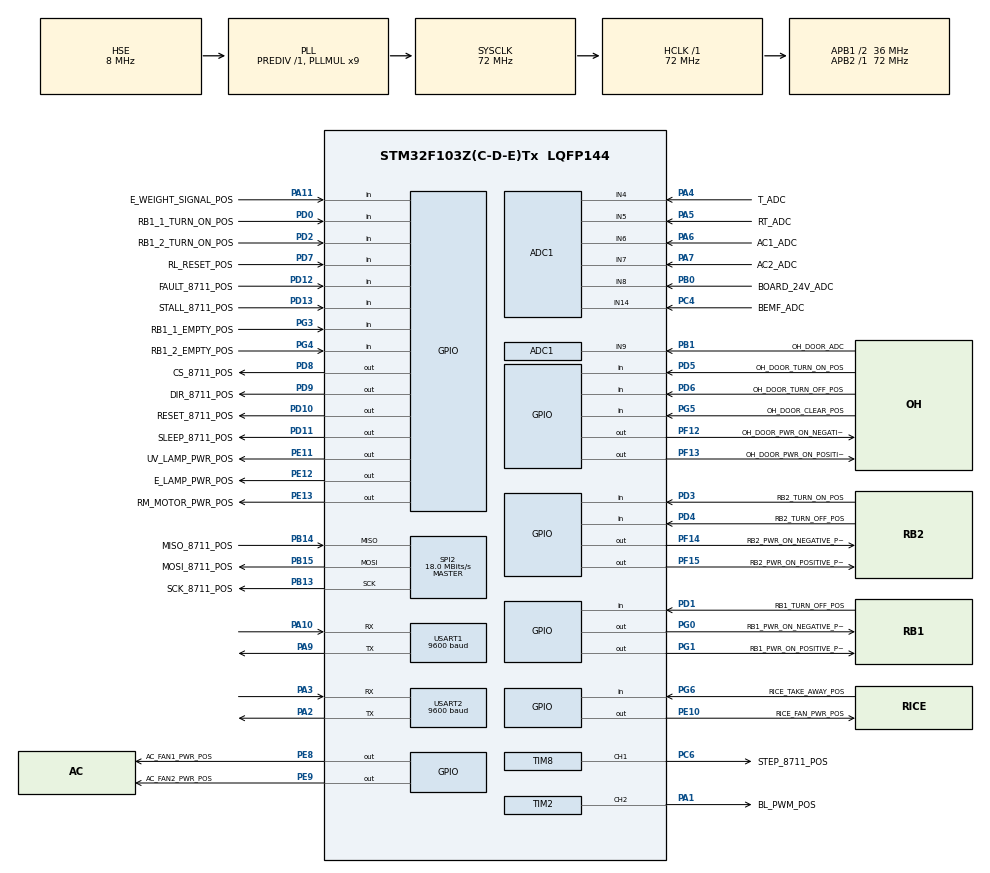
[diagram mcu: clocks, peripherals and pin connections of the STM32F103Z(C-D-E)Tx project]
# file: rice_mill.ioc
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ADC1.Channel-0\#ChannelRegularConversion=ADC_CHANNEL_4
ADC1.Channel-1\#ChannelRegularConversion=ADC_CHANNEL_5
ADC1.Channel-2\#ChannelRegularConversion=ADC_CHANNEL_6
ADC1.Channel-3\#ChannelRegularConversion=ADC_CHANNEL_7
ADC1.Channel-4\#ChannelRegularConversion=ADC_CHANNEL_8
ADC1.Channel-5\#ChannelRegularConversion=ADC_CHANNEL_9
ADC1.Channel-6\#ChannelRegularConversion=ADC_CHANNEL_14
ADC1.ContinuousConvMode=DISABLE
ADC1.DataAlign=ADC_DATAALIGN_RIGHT
ADC1.DiscontinuousConvMode=DISABLE
ADC1.EnableAnalogWatchDog=false
ADC1.EnableRegularConversion=ENABLE
ADC1.ExternalTrigConv=ADC_SOFTWARE_START
ADC1.InjNumberOfConversion=0
ADC1.NbrOfConversion=7
ADC1.NbrOfConversionFlag=1
ADC1.Rank-0\#ChannelRegularConversion=1
ADC1.Rank-1\#ChannelRegularConversion=2
ADC1.Rank-2\#ChannelRegularConversion=3
ADC1.Rank-3\#ChannelRegularConversion=4
ADC1.Rank-4\#ChannelRegularConversion=5
ADC1.Rank-5\#ChannelRegularConversion=6
ADC1.Rank-6\#ChannelRegularConversion=7
ADC1.SamplingTime-0\#ChannelRegularConversion=ADC_SAMPLETIME_55CYCLES_5
ADC1.SamplingTime-1\#ChannelRegularConversion=ADC_SAMPLETIME_55CYCLES_5
ADC1.SamplingTime-2\#ChannelRegularConversion=ADC_SAMPLETIME_55CYCLES_5
ADC1.SamplingTime-3\#ChannelRegularConversion=ADC_SAMPLETIME_55CYCLES_5
ADC1.SamplingTime-4\#ChannelRegularConversion=ADC_SAMPLETIME_55CYCLES_5
ADC1.SamplingTime-5\#ChannelRegularConversion=ADC_SAMPLETIME_55CYCLES_5
ADC1.SamplingTime-6\#ChannelRegularConversion=ADC_SAMPLETIME_55CYCLES_5
ADC1.ScanConvMode=ADC_SCAN_ENABLE
ADC1.master=1
Dma.ADC1.0.Direction=DMA_PERIPH_TO_MEMORY
Dma.ADC1.0.Instance=DMA1_Channel1
Dma.ADC1.0.MemDataAlignment=DMA_MDATAALIGN_HALFWORD
Dma.ADC1.0.MemInc=DMA_MINC_ENABLE
Dma.ADC1.0.Mode=DMA_NORMAL
Dma.ADC1.0.PeriphDataAlignment=DMA_PDATAALIGN_HALFWORD
Dma.ADC1.0.PeriphInc=DMA_PINC_DISABLE
Dma.ADC1.0.Priority=DMA_PRIORITY_LOW
Dma.Request0=ADC1
FREERTOS.INCLUDE_eTaskGetState=1
FREERTOS.INCLUDE_vTaskDelayUntil=1
FREERTOS.INCLUDE_xTaskGetCurrentTaskHandle=1
FREERTOS.Tasks01=defaultTask,0,256,StartDefaultTask,Default,NULL,Dynamic,NULL,NULL
FREERTOS.configCHECK_FOR_STACK_OVERFLOW=1
FREERTOS.configMAX_PRIORITIES=8
FREERTOS.configMAX_TASK_NAME_LEN=12
FREERTOS.configMINIMAL_STACK_SIZE=128
FREERTOS.configTIMER_TASK_PRIORITY=4
FREERTOS.configTIMER_TASK_STACK_DEPTH=128
FREERTOS.configTOTAL_HEAP_SIZE=40960
FREERTOS.configUSE_COUNTING_SEMAPHORES=1
FREERTOS.configUSE_IDLE_HOOK=1
FREERTOS.configUSE_MALLOC_FAILED_HOOK=1
FREERTOS.configUSE_RECURSIVE_MUTEXES=1
FREERTOS.configUSE_TIMERS=1
IWDG.Reload=4000
Mcu.Family=STM32F1
Mcu.Name=STM32F103Z(C-D-E)Tx
Mcu.Package=LQFP144
NVIC.DMA1_Channel1_IRQn=true\:5\:0\:false\:false\:true\:true
NVIC.PriorityGroup=NVIC_PRIORITYGROUP_4
NVIC.TIM2_IRQn=true\:5\:0\:false\:false\:true\:true
NVIC.TIM8_UP_IRQn=true\:5\:0\:false\:false\:true\:true
NVIC.USART1_IRQn=true\:5\:0\:false\:false\:true\:true
NVIC.USART2_IRQn=true\:5\:0\:false\:false\:true\:true
OSC_IN.Mode=HSE-External-Oscillator
OSC_IN.Signal=RCC_OSC_IN
OSC_OUT.Mode=HSE-External-Oscillator
OSC_OUT.Signal=RCC_OSC_OUT
PA1.GPIO_Label=BL_PWM_POS
PA1.Signal=S_TIM2_CH2
PA10.Mode=Asynchronous
PA10.Signal=USART1_RX
PA11.GPIO_Label=E_WEIGHT_SIGNAL_POS
PA11.Signal=GPIO_Input
PA13.Mode=Serial_Wire
PA13.Signal=SYS_JTMS-SWDIO
PA14.Mode=Serial_Wire
PA14.Signal=SYS_JTCK-SWCLK
PA2.Mode=Asynchronous
PA2.Signal=USART2_TX
PA3.Mode=Asynchronous
PA3.Signal=USART2_RX
PA4.GPIO_Label=T_ADC
PA4.Signal=ADCx_IN4
PA5.GPIO_Label=RT_ADC
PA5.Signal=ADCx_IN5
PA6.GPIO_Label=AC1_ADC
PA6.Signal=ADCx_IN6
PA7.GPIO_Label=AC2_ADC
PA7.Signal=ADCx_IN7
PA9.Mode=Asynchronous
PA9.Signal=USART1_TX
PB0.GPIO_Label=BOARD_24V_ADC
PB0.Signal=ADCx_IN8
PB1.GPIO_Label=OH_DOOR_ADC
PB1.Signal=ADCx_IN9
PB13.GPIO_Label=SCK_8711_POS
PB13.Mode=Full_Duplex_Master
PB13.Signal=SPI2_SCK
PB14.GPIO_Label=MISO_8711_POS
PB14.Mode=Full_Duplex_Master
PB14.Signal=SPI2_MISO
PB15.GPIO_Label=MOSI_8711_POS
PB15.Mode=Full_Duplex_Master
PB15.Signal=SPI2_MOSI
PC14-OSC32_IN.Mode=LSE-External-Oscillator
PC14-OSC32_IN.Signal=RCC_OSC32_IN
PC15-OSC32_OUT.Mode=LSE-External-Oscillator
PC15-OSC32_OUT.Signal=RCC_OSC32_OUT
PC4.GPIO_Label=BEMF_ADC
PC4.Signal=ADCx_IN14
PC6.GPIO_Label=STEP_8711_POS
PC6.Signal=S_TIM8_CH1
PD0.GPIO_Label=RB1_1_TURN_ON_POS
PD0.Signal=GPIO_Input
PD1.GPIO_Label=RB1_TURN_OFF_POS
PD1.Signal=GPIO_Input
PD10.GPIO_Label=RESET_8711_POS
PD10.Signal=GPIO_Output
PD11.GPIO_Label=SLEEP_8711_POS
PD11.Signal=GPIO_Output
PD12.GPIO_Label=FAULT_8711_POS
PD12.Signal=GPIO_Input
PD13.GPIO_Label=STALL_8711_POS
PD13.Signal=GPIO_Input
PD2.GPIO_Label=RB1_2_TURN_ON_POS
PD2.Signal=GPIO_Input
PD3.GPIO_Label=RB2_TURN_ON_POS
PD3.Signal=GPIO_Input
PD4.GPIO_Label=RB2_TURN_OFF_POS
PD4.Signal=GPIO_Input
PD5.GPIO_Label=OH_DOOR_TURN_ON_POS
PD5.Signal=GPIO_Input
PD6.GPIO_Label=OH_DOOR_TURN_OFF_POS
PD6.Signal=GPIO_Input
PD7.GPIO_Label=RL_RESET_POS
PD7.Signal=GPIO_Input
PD8.GPIO_Label=CS_8711_POS
PD8.Signal=GPIO_Output
PD9.GPIO_Label=DIR_8711_POS
PD9.Signal=GPIO_Output
PE10.GPIO_Label=RICE_FAN_PWR_POS
PE10.Signal=GPIO_Output
PE11.GPIO_Label=UV_LAMP_PWR_POS
PE11.Signal=GPIO_Output
PE12.GPIO_Label=E_LAMP_PWR_POS
PE12.Signal=GPIO_Output
PE13.GPIO_Label=RM_MOTOR_PWR_POS
PE13.Signal=GPIO_Output
PE8.GPIO_Label=AC_FAN1_PWR_POS
PE8.Signal=GPIO_Output
PE9.GPIO_Label=AC_FAN2_PWR_POS
PE9.Signal=GPIO_Output
PF12.GPIO_Label=OH_DOOR_PWR_ON_NEGATIVE_POS
PF12.Signal=GPIO_Output
PF13.GPIO_Label=OH_DOOR_PWR_ON_POSITIVE_POS
PF13.Signal=GPIO_Output
PF14.GPIO_Label=RB2_PWR_ON_NEGATIVE_POS
PF14.Signal=GPIO_Output
PF15.GPIO_Label=RB2_PWR_ON_POSITIVE_POS
PF15.Signal=GPIO_Output
PG0.GPIO_Label=RB1_PWR_ON_NEGATIVE_POS
PG0.Signal=GPIO_Output
PG1.GPIO_Label=RB1_PWR_ON_POSITIVE_POS
PG1.Signal=GPIO_Output
PG3.GPIO_Label=RB1_1_EMPTY_POS
PG3.Signal=GPIO_Input
PG4.GPIO_Label=RB1_2_EMPTY_POS
PG4.Signal=GPIO_Input
PG5.GPIO_Label=OH_DOOR_CLEAR_POS
PG5.Signal=GPIO_Input
PG6.GPIO_Label=RICE_TAKE_AWAY_POS
PG6.Signal=GPIO_Input
ProjectManager.HeapSize=0x0
ProjectManager.StackSize=0x200
ProjectManager.TargetToolchain=EWARM
RCC.ADCPresc=RCC_ADCPCLK2_DIV6
RCC.AHBFreq_Value=72000000
RCC.APB1CLKDivider=RCC_HCLK_DIV2
RCC.APB1Freq_Value=36000000
RCC.APB1TimFreq_Value=72000000
RCC.APB2Freq_Value=72000000
RCC.APB2TimFreq_Value=72000000
RCC.HCLKFreq_Value=72000000
RCC.PLLMUL=RCC_PLL_MUL9
RCC.PLLSourceVirtual=RCC_PLLSOURCE_HSE
RCC.SYSCLKFreq_VALUE=72000000
RCC.SYSCLKSource=RCC_SYSCLKSOURCE_PLLCLK
RCC.USBFreq_Value=72000000
SH.ADCx_IN14.0=ADC1_IN14,IN14
SH.ADCx_IN4.0=ADC1_IN4,IN4
SH.ADCx_IN5.0=ADC1_IN5,IN5
SH.ADCx_IN6.0=ADC1_IN6,IN6
SH.ADCx_IN7.0=ADC1_IN7,IN7
SH.ADCx_IN8.0=ADC1_IN8,IN8
SH.ADCx_IN9.0=ADC1_IN9,IN9
SH.S_TIM2_CH2.0=TIM2_CH2,PWM Generation2 CH2
SH.S_TIM8_CH1.0=TIM8_CH1,PWM Generation1 CH1
SPI2.CalculateBaudRate=18.0 MBits/s
SPI2.Direction=SPI_DIRECTION_2LINES
SPI2.Mode=SPI_MODE_MASTER
SPI2.VirtualType=VM_MASTER
TIM2.Channel-PWM\ Generation2\ CH2=TIM_CHANNEL_2
TIM2.Prescaler=72
TIM8.Channel-PWM\ Generation1\ CH1=TIM_CHANNEL_1
USART1.BaudRate=9600
USART1.VirtualMode=VM_ASYNC
USART2.BaudRate=9600
USART2.VirtualMode=VM_ASYNC
VP_FREERTOS_VS_ENABLE.Mode=Enabled
VP_IWDG_VS_IWDG.Mode=IWDG_Activate
board=rice_mill

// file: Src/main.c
/**
  ******************************************************************************
  * File Name          : main.c
  * Description        : Main program body
  ******************************************************************************
  * This notice applies to any and all portions of this file
  * that are not between comment pairs USER CODE BEGIN and
  * USER CODE END. Other portions of this file, whether
  * inserted by the user or by software development tools
  * are owned by their respective copyright owners.
  *
  * Copyright (c) 2017 STMicroelectronics International N.V.
  * All rights reserved.
  *
  * Redistribution and use in source and binary forms, with or without
  * modification, are permitted, provided that the following conditions are met:
  *
  * 1. Redistribution of source code must retain the above copyright notice,
  *    this list of conditions and the following disclaimer.
  * 2. Redistributions in binary form must reproduce the above copyright notice,
  *    this list of conditions and the following disclaimer in the documentation
  *    and/or other materials provided with the distribution.
  * 3. Neither the name of STMicroelectronics nor the names of other
  *    contributors to this software may be used to endorse or promote products
  *    derived from this software without specific written permission.
  * 4. This software, including modifications and/or derivative works of this
  *    software, must execute solely and exclusively on microcontroller or
  *    microprocessor devices manufactured by or for STMicroelectronics.
  * 5. Redistribution and use of this software other than as permitted under
  *    this license is void and will automatically terminate your rights under
  *    this license.
  *
  * THIS SOFTWARE IS PROVIDED BY STMICROELECTRONICS AND CONTRIBUTORS "AS IS"
  * AND ANY EXPRESS, IMPLIED OR STATUTORY WARRANTIES, INCLUDING, BUT NOT
  * LIMITED TO, THE IMPLIED WARRANTIES OF MERCHANTABILITY, FITNESS FOR A
  * PARTICULAR PURPOSE AND NON-INFRINGEMENT OF THIRD PARTY INTELLECTUAL PROPERTY
  * RIGHTS ARE DISCLAIMED TO THE FULLEST EXTENT PERMITTED BY LAW. IN NO EVENT
  * SHALL STMICROELECTRONICS OR CONTRIBUTORS BE LIABLE FOR ANY DIRECT, INDIRECT,
  * INCIDENTAL, SPECIAL, EXEMPLARY, OR CONSEQUENTIAL DAMAGES (INCLUDING, BUT NOT
  * LIMITED TO, PROCUREMENT OF SUBSTITUTE GOODS OR SERVICES; LOSS OF USE, DATA,
  * OR PROFITS; OR BUSINESS INTERRUPTION) HOWEVER CAUSED AND ON ANY THEORY OF
  * LIABILITY, WHETHER IN CONTRACT, STRICT LIABILITY, OR TORT (INCLUDING
  * NEGLIGENCE OR OTHERWISE) ARISING IN ANY WAY OUT OF THE USE OF THIS SOFTWARE,
  * EVEN IF ADVISED OF THE POSSIBILITY OF SUCH DAMAGE.
  *
  ******************************************************************************
  */
#include "main.h"
#include "stm32f1xx_hal.h"
#include "cmsis_os.h"
#include "adc.h"
#include "dma.h"
#include "iwdg.h"
#include "spi.h"
#include "tim.h"
#include "usart.h"
#include "gpio.h"

/* USER CODE BEGIN PV */
/* Private variables ---------------------------------------------------------*/

/* USER CODE END PV */

void SystemClock_Config(void);
void MX_FREERTOS_Init(void);

/* USER CODE BEGIN PFP */
/* Private function prototypes -----------------------------------------------*/

/* USER CODE END PFP */

int main(void)
{

  /* MCU Configuration----------------------------------------------------------*/

  /* Reset of all peripherals, Initializes the Flash interface and the Systick. */
  HAL_Init();

  /* Configure the system clock */
  SystemClock_Config();

  /* Initialize all configured peripherals */
  MX_GPIO_Init();
  MX_DMA_Init();
  MX_IWDG_Init();
  MX_USART2_UART_Init();
  MX_ADC1_Init();
  MX_TIM2_Init();
  MX_SPI2_Init();
  MX_USART1_UART_Init();
  MX_TIM8_Init();

  /* Call init function for freertos objects (in freertos.c) */
  MX_FREERTOS_Init();

  /* Start scheduler */
  osKernelStart();

  /* We should never get here as control is now taken by the scheduler */

  /* Infinite loop */
  while (1)
  {

  }

}

/** System Clock Configuration
*/
void SystemClock_Config(void)
{

  RCC_OscInitTypeDef RCC_OscInitStruct;
  RCC_ClkInitTypeDef RCC_ClkInitStruct;
  RCC_PeriphCLKInitTypeDef PeriphClkInit;

    /**Initializes the CPU, AHB and APB busses clocks
    */
  RCC_OscInitStruct.OscillatorType = RCC_OSCILLATORTYPE_LSI|RCC_OSCILLATORTYPE_HSE;
  RCC_OscInitStruct.HSEState = RCC_HSE_ON;
  RCC_OscInitStruct.HSEPredivValue = RCC_HSE_PREDIV_DIV1;
  RCC_OscInitStruct.HSIState = RCC_HSI_ON;
  RCC_OscInitStruct.LSIState = RCC_LSI_ON;
  RCC_OscInitStruct.PLL.PLLState = RCC_PLL_ON;
  RCC_OscInitStruct.PLL.PLLSource = RCC_PLLSOURCE_HSE;
  RCC_OscInitStruct.PLL.PLLMUL = RCC_PLL_MUL9;
  if (HAL_RCC_OscConfig(&RCC_OscInitStruct) != HAL_OK)
  {
    _Error_Handler(__FILE__, __LINE__);
  }

    /**Initializes the CPU, AHB and APB busses clocks
    */
  RCC_ClkInitStruct.ClockType = RCC_CLOCKTYPE_HCLK|RCC_CLOCKTYPE_SYSCLK
                              |RCC_CLOCKTYPE_PCLK1|RCC_CLOCKTYPE_PCLK2;
  RCC_ClkInitStruct.SYSCLKSource = RCC_SYSCLKSOURCE_PLLCLK;
  RCC_ClkInitStruct.AHBCLKDivider = RCC_SYSCLK_DIV1;
  RCC_ClkInitStruct.APB1CLKDivider = RCC_HCLK_DIV2;
  RCC_ClkInitStruct.APB2CLKDivider = RCC_HCLK_DIV1;

  if (HAL_RCC_ClockConfig(&RCC_ClkInitStruct, FLASH_LATENCY_2) != HAL_OK)
  {
    _Error_Handler(__FILE__, __LINE__);
  }

  PeriphClkInit.PeriphClockSelection = RCC_PERIPHCLK_ADC;
  PeriphClkInit.AdcClockSelection = RCC_ADCPCLK2_DIV6;
  if (HAL_RCCEx_PeriphCLKConfig(&PeriphClkInit) != HAL_OK)
  {
    _Error_Handler(__FILE__, __LINE__);
  }

    /**Configure the Systick interrupt time
    */
  HAL_SYSTICK_Config(HAL_RCC_GetHCLKFreq()/1000);

    /**Configure the Systick
    */
  HAL_SYSTICK_CLKSourceConfig(SYSTICK_CLKSOURCE_HCLK);

  /* SysTick_IRQn interrupt configuration */
  HAL_NVIC_SetPriority(SysTick_IRQn, 15, 0);
}

/* USER CODE BEGIN 4 */
uint32_t APP_TIMESTAMP(void)
{
 return osKernelSysTick();
}

int fputc(int ch, FILE *f)
{
 //HAL_UART_Transmit(&huart3,(uint8_t*)&ch,1,0xff);
 return ch;
}

void SEGGER_RTT_CRITICAL_REGION_ENTER()
{
  if(__get_IPSR()==0)
  {
   taskENTER_CRITICAL();
 }
}

void SEGGER_RTT_CRITICAL_REGION_EXIT()
{
  if ( __get_IPSR()==0)
  {
   taskEXIT_CRITICAL();
  }
}
/* USER CODE END 4 */

void _Error_Handler(char * file, int line)
{
  while(1)
  {
  }
}

/************************ (C) COPYRIGHT STMicroelectronics *****END OF FILE****/

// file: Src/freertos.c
/**
  ******************************************************************************
  * File Name          : freertos.c
  * Description        : Code for freertos applications
  ******************************************************************************
  * This notice applies to any and all portions of this file
  * that are not between comment pairs USER CODE BEGIN and
  * USER CODE END. Other portions of this file, whether
  * inserted by the user or by software development tools
  * are owned by their respective copyright owners.
  *
  * Copyright (c) 2017 STMicroelectronics International N.V.
  * All rights reserved.
  *
  * Redistribution and use in source and binary forms, with or without
  * modification, are permitted, provided that the following conditions are met:
  *
  * 1. Redistribution of source code must retain the above copyright notice,
  *    this list of conditions and the following disclaimer.
  * 2. Redistributions in binary form must reproduce the above copyright notice,
  *    this list of conditions and the following disclaimer in the documentation
  *    and/or other materials provided with the distribution.
  * 3. Neither the name of STMicroelectronics nor the names of other
  *    contributors to this software may be used to endorse or promote products
  *    derived from this software without specific written permission.
  * 4. This software, including modifications and/or derivative works of this
  *    software, must execute solely and exclusively on microcontroller or
  *    microprocessor devices manufactured by or for STMicroelectronics.
  * 5. Redistribution and use of this software other than as permitted under
  *    this license is void and will automatically terminate your rights under
  *    this license.
  *
  * THIS SOFTWARE IS PROVIDED BY STMICROELECTRONICS AND CONTRIBUTORS "AS IS"
  * AND ANY EXPRESS, IMPLIED OR STATUTORY WARRANTIES, INCLUDING, BUT NOT
  * LIMITED TO, THE IMPLIED WARRANTIES OF MERCHANTABILITY, FITNESS FOR A
  * PARTICULAR PURPOSE AND NON-INFRINGEMENT OF THIRD PARTY INTELLECTUAL PROPERTY
  * RIGHTS ARE DISCLAIMED TO THE FULLEST EXTENT PERMITTED BY LAW. IN NO EVENT
  * SHALL STMICROELECTRONICS OR CONTRIBUTORS BE LIABLE FOR ANY DIRECT, INDIRECT,
  * INCIDENTAL, SPECIAL, EXEMPLARY, OR CONSEQUENTIAL DAMAGES (INCLUDING, BUT NOT
  * LIMITED TO, PROCUREMENT OF SUBSTITUTE GOODS OR SERVICES; LOSS OF USE, DATA,
  * OR PROFITS; OR BUSINESS INTERRUPTION) HOWEVER CAUSED AND ON ANY THEORY OF
  * LIABILITY, WHETHER IN CONTRACT, STRICT LIABILITY, OR TORT (INCLUDING
  * NEGLIGENCE OR OTHERWISE) ARISING IN ANY WAY OUT OF THE USE OF THIS SOFTWARE,
  * EVEN IF ADVISED OF THE POSSIBILITY OF SUCH DAMAGE.
  *
  ******************************************************************************
  */

#include "FreeRTOS.h"
#include "task.h"
#include "cmsis_os.h"

/* USER CODE BEGIN Includes */
#include "user_tasks.h"
#include "app_log.h"

#if APP_LOG_ENABLED > 0
#undef  APP_LOG_MODULE_NAME
#undef  APP_LOG_MODULE_LEVEL
#define APP_LOG_MODULE_NAME   "[freeos]"
#define APP_LOG_MODULE_LEVEL   APP_LOG_LEVEL_DEBUG
#endif
/* USER CODE END Includes */

osThreadId defaultTaskHandle;

void StartDefaultTask(void const * argument);

void MX_FREERTOS_Init(void); /* (MISRA C 2004 rule 8.1) */

/* USER CODE BEGIN FunctionPrototypes */
void app_create_user_tasks();
/* USER CODE END FunctionPrototypes */

/* Hook prototypes */
void vApplicationIdleHook(void);
void vApplicationStackOverflowHook(xTaskHandle xTask, signed char *pcTaskName);
void vApplicationMallocFailedHook(void);

/* USER CODE BEGIN 2 */
__weak void vApplicationIdleHook( void )
{
   /* vApplicationIdleHook() will only be called if configUSE_IDLE_HOOK is set
   to 1 in FreeRTOSConfig.h. It will be called on each iteration of the idle
   task. It is essential that code added to this hook function never attempts
   to block in any way (for example, call xQueueReceive() with a block time
   specified, or call vTaskDelay()). If the application makes use of the
   vTaskDelete() API function (as this demo application does) then it is also
   important that vApplicationIdleHook() is permitted to return to its calling
   function, because it is the responsibility of the idle task to clean up
   memory allocated by the kernel to any task that has since been deleted. */
}
/* USER CODE END 2 */

/* USER CODE BEGIN 4 */
__weak void vApplicationStackOverflowHook(xTaskHandle xTask, signed char *pcTaskName)
{
   /* Run time stack overflow checking is performed if
   configCHECK_FOR_STACK_OVERFLOW is defined to 1 or 2. This hook function is
   called if a stack overflow is detected. */

}
/* USER CODE END 4 */

/* USER CODE BEGIN 5 */
__weak void vApplicationMallocFailedHook(void)
{
   /* vApplicationMallocFailedHook() will only be called if
   configUSE_MALLOC_FAILED_HOOK is set to 1 in FreeRTOSConfig.h. It is a hook
   function that will get called if a call to pvPortMalloc() fails.
   pvPortMalloc() is called internally by the kernel whenever a task, queue,
   timer or semaphore is created. It is also called by various parts of the
   demo application. If heap_1.c or heap_2.c are used, then the size of the
   heap available to pvPortMalloc() is defined by configTOTAL_HEAP_SIZE in
   FreeRTOSConfig.h, and the xPortGetFreeHeapSize() API function can be used
   to query the size of free heap space that remains (although it does not
   provide information on how the remaining heap might be fragmented). */
}
/* USER CODE END 5 */

/* Init FreeRTOS */

void MX_FREERTOS_Init(void) {

  /* Create the thread(s) */
  /* definition and creation of defaultTask */
  osThreadDef(defaultTask, StartDefaultTask, osPriorityAboveNormal, 0, 128);
  defaultTaskHandle = osThreadCreate(osThread(defaultTask), NULL);

}

/* StartDefaultTask function */
void StartDefaultTask(void const * argument)
{

  /* USER CODE BEGIN StartDefaultTask */
  /* Infinite loop */
  app_create_user_tasks();//创建用户任务
  APP_LOG_WARNING("all tasks create complete,delete self!!!\r\n");
  osThreadTerminate(defaultTaskHandle);//删除任务
  for(;;)
  {
    osDelay(1);
  }
  /* USER CODE END StartDefaultTask */
}

/************************ (C) COPYRIGHT STMicroelectronics *****END OF FILE****/
